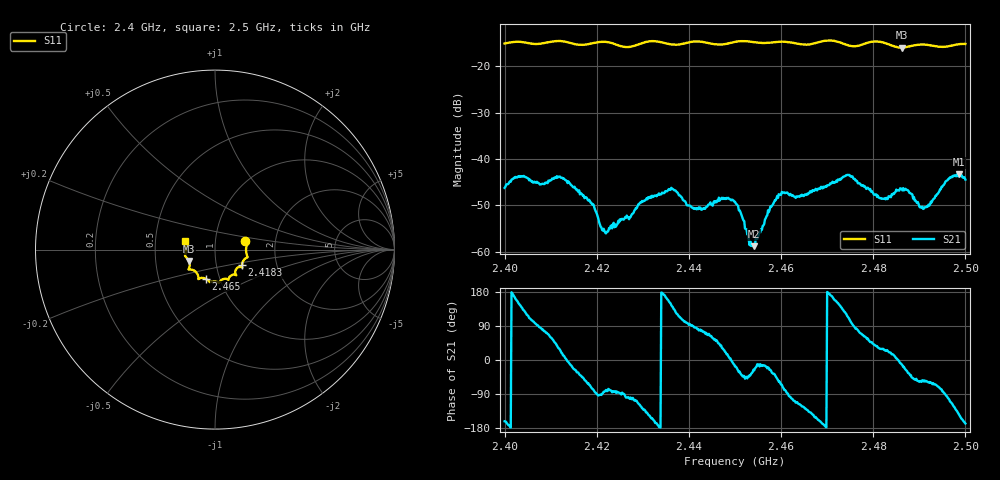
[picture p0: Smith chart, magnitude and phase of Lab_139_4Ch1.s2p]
# Hz S RI R 50
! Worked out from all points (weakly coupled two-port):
!   601 points, 2.4 GHz to 2.5 GHz, reference 50 ohm
!   highest |S21| = -43.28 dB at 2.4987 GHz (marker M1); lowest = -58.8 dB at 2.4542 GHz (marker M2)
!   lowest |S11| = -16.0 dB at 2.4862 GHz (marker M3), VSWR 1.38, Z = 37.1 - j4.81 ohm
!   |S11| at or under -10 dB: start of sweep to end of sweep
!   S12 and S22 are empty: the file has one direction only
!   S11 on the Smith chart (normalised r, x): 2.4 GHz: 1.40, +0.13; 2.4183 GHz: 1.33, -0.24; 2.465 GHz: 0.86, -0.29; 2.5 GHz: 0.71, +0.07
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2.4e9  0.1689 0.0459  -0.00464 -0.00154  0 0  0 0
2.402833e9  0.1798 0.0334  -0.00581 0.00282  0 0  0 0
2.408167e9  0.1746 -0.0179  0.000927 0.00534  0 0  0 0
2.411833e9  0.1817 -0.0417  0.00558 0.00324  0 0  0 0
2.416667e9  0.1549 -0.068  0.00313 -0.00286  0 0  0 0
2.418333e9  0.1502 -0.0866  0.0015 -0.00331  0 0  0 0
2.422e9  0.1524 -0.0999  0.000299 -0.00155  0 0  0 0
2.433333e9  0.1167 -0.1411  -0.00407 -0.000522  0 0  0 0
2.436667e9  0.0931 -0.1426  -0.0033 0.0033  0 0  0 0
2.4415e9  0.0745 -0.1686  0.00023 0.00293  0 0  0 0
2.45e9  0.0251 -0.1806  0.00331 -0.00101  0 0  0 0
2.4535e9  0.0167 -0.1823  0.000934 -0.000684  0 0  0 0
2.454167e9  0.0132 -0.1807  0.00102 -0.000529  0 0  0 0
2.459667e9  -0.0267 -0.1813  0.00227 -0.00346  0 0  0 0
2.465e9  -0.0528 -0.1621  -0.0023 -0.00328  0 0  0 0
2.466667e9  -0.0713 -0.1576  -0.00347 -0.00272  0 0  0 0
2.4745e9  -0.0983 -0.136  -0.00272 0.00618  0 0  0 0
2.483333e9  -0.1421 -0.0961  0.0037 0.00145  0 0  0 0
2.486167e9  -0.1447 -0.0633  0.00467 -0.000953  0 0  0 0
2.491333e9  -0.1672 -0.0316  0.00167 -0.00252  0 0  0 0
2.498667e9  -0.1674 0.0405  -0.00563 -0.00392  0 0  0 0
2.5e9  -0.1667 0.047  -0.00586 -0.0013  0 0  0 0
